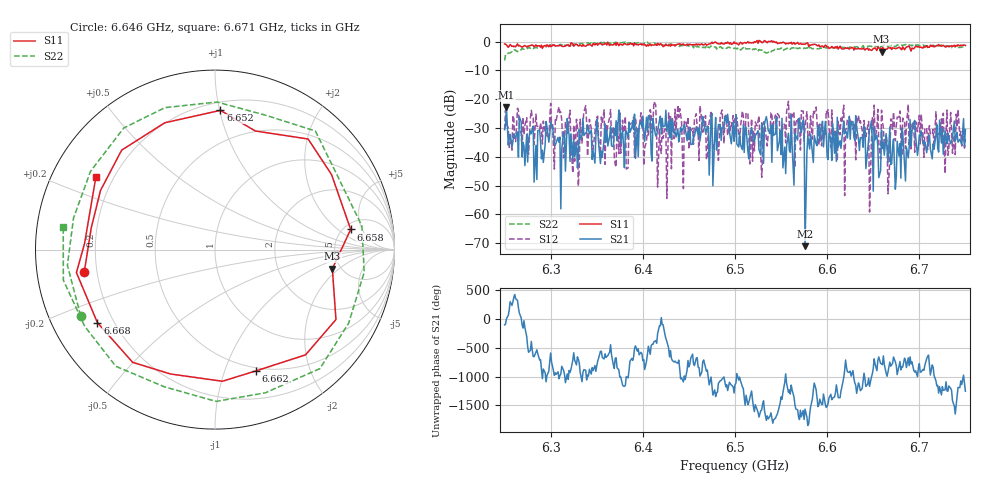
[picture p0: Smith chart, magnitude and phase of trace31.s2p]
# Hz S RI R 50
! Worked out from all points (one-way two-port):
!   401 points, 6.25 GHz to 6.75 GHz, reference 50 ohm
!   highest |S21| = -22.82 dB at 6.252 GHz (marker M1); lowest = -71.0 dB at 6.576 GHz (marker M2)
!   lowest |S11| = -3.6 dB at 6.659 GHz (marker M3), VSWR 4.93, Z = 214 - j81.4 ohm
!   |S11| at or under -10 dB: nowhere
!   |S22| runs from -6.6 to -0.2 dB; largest |S21 - S12| = 0.12
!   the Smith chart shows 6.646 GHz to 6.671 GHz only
!   S11 on the Smith chart (normalised r, x): 6.646 GHz: 0.15, -0.08; 6.652 GHz: 0.26, +1.01; 6.658 GHz: 5.76, +3.11; 6.662 GHz: 0.47, -1.28; 6.668 GHz: 0.14, -0.28; 6.671 GHz: 0.14, +0.27
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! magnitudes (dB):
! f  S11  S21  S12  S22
! 6.25 GHz  -0.8  -30.6  -30.5  -6.6
! 6.252 GHz  -1.2  -22.8  -28.6  -4.6
! 6.314 GHz  -1.7  -31.3  -40.3  -1.0
! 6.334 GHz  -1.6  -32.6  -35.3  -0.6
! 6.365 GHz  -1.0  -29.6  -23.6  -0.6
! 6.371 GHz  -1.3  -27.5  -43.6  -0.4
! 6.411 GHz  -1.2  -26.6  -28.0  -0.6
! 6.418 GHz  -1.2  -27.4  -30.5  -0.8
! 6.438 GHz  -0.9  -30.4  -22.0  -1.3
! 6.5 GHz  -0.7  -31.7  -26.7  -2.4
! 6.555 GHz  -0.9  -45.8  -35.2  -2.7
! 6.571 GHz  -0.7  -29.8  -37.7  -2.4
! 6.576 GHz  -0.9  -71.0  -29.4  -2.4
! 6.584 GHz  -1.0  -38.9  -33.9  -2.6
! 6.646 GHz  -2.6  -30.8  -59.2  -1.6
! 6.652 GHz  -2.2  -34.1  -33.7  -1.5
! 6.658 GHz  -2.3  -44.8  -40.7  -2.0
! 6.659 GHz  -3.6  -30.7  -23.8  -1.6
! 6.662 GHz  -2.9  -39.4  -36.9  -1.1
! 6.668 GHz  -2.3  -29.6  -41.1  -1.4
! 6.671 GHz  -2.2  -36.7  -30.5  -1.4
! 6.75 GHz  -1.4  -30.6  -33.8  -2.2
